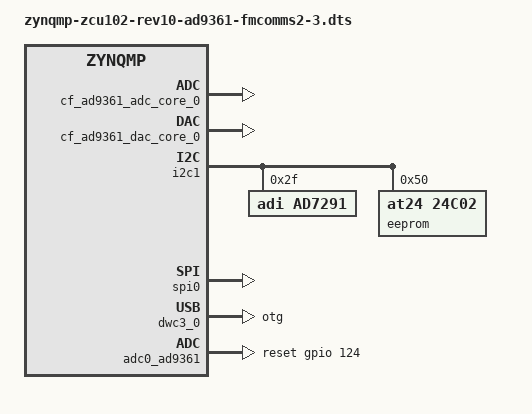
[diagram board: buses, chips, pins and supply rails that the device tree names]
/*
 * dts file for FMCOMMS2/3 AD9361 on Xilinx ZynqMP ZCU102 Rev 1.0
 *
 * Copyright (C) 2016-2017 Analog Devices Inc.
 *
 * Licensed under the GPL-2.
 */

#include "zynqmp-zcu102-rev1.0.dts"
#include <dt-bindings/interrupt-controller/irq.h>

&i2c1 {
	i2c-mux@75 {
		i2c@0 {
			#address-cells = <1>;
			#size-cells = <0>;
			reg = <0>;
			/* HPC0_IIC */
			ad7291@2f {
				compatible = "adi,ad7291";
				reg = <0x2f>;
			};

			eeprom@50 {
				compatible = "at24,24c02";
				reg = <0x50>;
			};

		};
	};
};

/ {
	fpga_axi: fpga-axi@0 {
		interrupt-parent = <&gic>;
		compatible = "simple-bus";
		#address-cells = <0x1>;
		#size-cells = <0x1>;
		ranges = <0 0 0 0xffffffff>;

		rx_dma: dma@9c400000 {
			compatible = "adi,axi-dmac-1.00.a";
			reg = <0x9c400000 0x10000>;
			#dma-cells = <1>;
			#clock-cells = <0>;
			interrupts = <0 109 IRQ_TYPE_LEVEL_HIGH>;
			clocks = <&zynqmp_clk 71>;

			adi,channels {
				#size-cells = <0>;
				#address-cells = <1>;

				dma-channel@0 {
					reg = <0>;
					adi,source-bus-width = <64>;
					adi,source-bus-type = <2>;
					adi,destination-bus-width = <64>;
					adi,destination-bus-type = <0>;
				};
			};
		};

		tx_dma: dma@9c420000  {
			compatible = "adi,axi-dmac-1.00.a";
			reg = <0x9c420000 0x10000>;
			#dma-cells = <1>;
			#clock-cells = <0>;
			interrupts = <0 108 IRQ_TYPE_LEVEL_HIGH>;
			clocks = <&zynqmp_clk 71>;

			adi,channels {
				#size-cells = <0>;
				#address-cells = <1>;

				dma-channel@0 {
					reg = <0>;
					adi,source-bus-width = <64>;
					adi,source-bus-type = <0>;
					adi,destination-bus-width = <64>;
					adi,destination-bus-type = <2>;
				};
			};
		};

		cf_ad9361_adc_core_0: cf-ad9361-lpc@99020000 {
			compatible = "adi,axi-ad9361-6.00.a";
			reg = <0x99020000 0x6000>;
			dmas = <&rx_dma 0>;
			dma-names = "rx";
			spibus-connected = <&adc0_ad9361>;
		};

		cf_ad9361_dac_core_0: cf-ad9361-dds-core-lpc@99024000 {
			compatible = "adi,axi-ad9361-dds-6.00.a";
			reg = <0x99024000 0x1000>;
			clocks = <&adc0_ad9361 13>;
			clock-names = "sampl_clk";
			dmas = <&tx_dma 0>;
			dma-names = "tx";
		};

		axi_sysid_0: axi-sysid-0@85000000 {
			compatible = "adi,axi-sysid-1.00.a";
			reg = <0x85000000 0x10000>;
		};
	};
};

&spi0 {
	status = "okay";
};

&dwc3_0 {
	status = "okay";
	dr_mode = "otg";
};

#define fmc_spi spi0

#include "adi-fmcomms2.dtsi"

&adc0_ad9361 {
	en_agc-gpios = <&gpio 122 0>;
	sync-gpios = <&gpio 123 0>;
	reset-gpios = <&gpio 124 0>;
	enable-gpios = <&gpio 125 0>;
	txnrx-gpios = <&gpio 126 0>;
};
